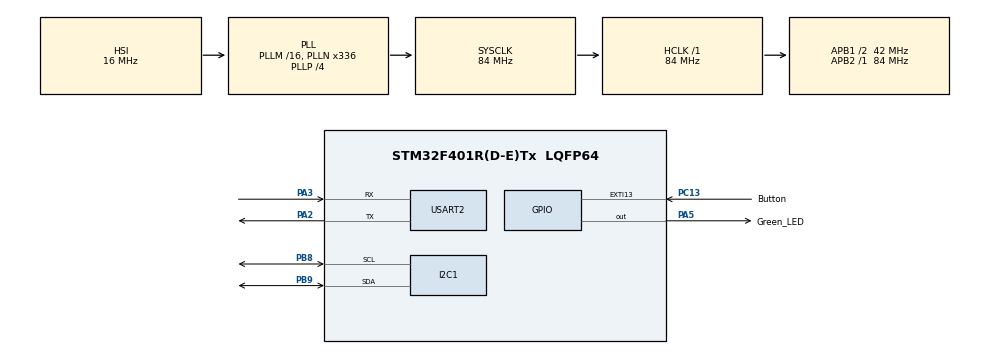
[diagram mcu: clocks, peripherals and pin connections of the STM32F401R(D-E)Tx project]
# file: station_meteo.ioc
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Mcu.Family=STM32F4
Mcu.Name=STM32F401R(D-E)Tx
Mcu.Package=LQFP64
NVIC.EXTI15_10_IRQn=true\:0\:0\:false\:false\:true\:true\:true\:true
NVIC.PriorityGroup=NVIC_PRIORITYGROUP_4
PA13.GPIO_Label=TMS
PA13.Mode=Trace_Asynchronous_SW
PA13.Signal=SYS_JTMS-SWDIO
PA14.GPIO_Label=TCK
PA14.Mode=Trace_Asynchronous_SW
PA14.Signal=SYS_JTCK-SWCLK
PA2.Mode=Asynchronous
PA2.Signal=USART2_TX
PA3.Mode=Asynchronous
PA3.Signal=USART2_RX
PA5.GPIO_Label=Green_LED
PA5.GPIO_Mode=GPIO_MODE_OUTPUT_PP
PA5.GPIO_PuPd=GPIO_NOPULL
PA5.GPIO_Speed=GPIO_SPEED_FREQ_LOW
PA5.Signal=GPIO_Output
PB3.GPIO_Label=SWO
PB3.Mode=Trace_Asynchronous_SW
PB3.Signal=SYS_JTDO-SWO
PB8.Mode=I2C
PB8.Signal=I2C1_SCL
PB9.Mode=I2C
PB9.Signal=I2C1_SDA
PC13-ANTI_TAMP.GPIO_Label=Button
PC13-ANTI_TAMP.GPIO_ModeDefaultEXTI=GPIO_MODE_IT_RISING_FALLING
PC13-ANTI_TAMP.GPIO_PuPd=GPIO_PULLDOWN
PC13-ANTI_TAMP.Signal=GPXTI13
PC14-OSC32_IN.Mode=LSE-External-Oscillator
PC14-OSC32_IN.Signal=RCC_OSC32_IN
PC15-OSC32_OUT.Mode=LSE-External-Oscillator
PC15-OSC32_OUT.Signal=RCC_OSC32_OUT
PH0\ -\ OSC_IN.Mode=HSE-External-Clock-Source
PH0\ -\ OSC_IN.Signal=RCC_OSC_IN
PH1\ -\ OSC_OUT.Mode=HSE-External-Clock-Source
PH1\ -\ OSC_OUT.Signal=RCC_OSC_OUT
ProjectManager.HeapSize=0x200
ProjectManager.StackSize=0x400
ProjectManager.TargetToolchain=Makefile
RCC.48MHZClocksFreq_Value=48000000
RCC.AHBFreq_Value=84000000
RCC.APB1CLKDivider=RCC_HCLK_DIV2
RCC.APB1Freq_Value=42000000
RCC.APB1TimFreq_Value=84000000
RCC.APB2Freq_Value=84000000
RCC.APB2TimFreq_Value=84000000
RCC.CortexFreq_Value=84000000
RCC.HCLKFreq_Value=84000000
RCC.HSE_VALUE=8000000
RCC.HSI_VALUE=16000000
RCC.PLLN=336
RCC.PLLP=RCC_PLLP_DIV4
RCC.PLLQ=7
RCC.SYSCLKFreq_VALUE=84000000
RCC.SYSCLKSource=RCC_SYSCLKSOURCE_PLLCLK
RCC.VCOOutputFreq_Value=336000000
USART2.VirtualMode=VM_ASYNC
board=NUCLEO-F401RE

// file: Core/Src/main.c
/* USER CODE BEGIN Header */
/**
  ******************************************************************************
  * @file           : main.c
  * @brief          : Main program body
  ******************************************************************************
  * @attention
  *
  * Copyright (c) 2026 STMicroelectronics.
  * All rights reserved.
  *
  * This software is licensed under terms that can be found in the LICENSE file
  * in the root directory of this software component.
  * If no LICENSE file comes with this software, it is provided AS-IS.
  *
  ******************************************************************************
  */
/* USER CODE END Header */
#include "main.h"

/* USER CODE BEGIN Includes */
#include "stm32f4xx_hal.h"
#include "stm32f4xx_hal_cortex.h"
#include "stm32f4xx_hal_def.h"
#include "stm32f4xx_hal_i2c.h"
#include "stm32f4xx_hal_uart.h"
#include "bme280.h"
#include <stdint.h>
#include <stdio.h>

/* USER CODE END Includes */

I2C_HandleTypeDef hi2c1;

UART_HandleTypeDef huart2;

void SystemClock_Config(void);
static void MX_GPIO_Init(void);
static void MX_USART2_UART_Init(void);
static void MX_I2C1_Init(void);

/* USER CODE BEGIN 0 */

int _write(int file, char *ptr, int len)
{
  (void) file;
  HAL_UART_Transmit(&huart2, (uint8_t *)ptr, len, HAL_MAX_DELAY);
  return len;
}

int8_t  bme280_i2c_read(uint8_t reg_addr, uint8_t *reg_data, uint32_t len,
                         void *intf_ptr)
{
  return (HAL_I2C_Mem_Read((I2C_HandleTypeDef *)intf_ptr, 0x76 << 1, reg_addr, 1, reg_data, len,
                           HAL_MAX_DELAY));
}

int8_t  bme280_i2c_write(uint8_t reg_addr, const uint8_t *reg_data,
                          uint32_t len, void *intf_ptr)
{
  return (HAL_I2C_Mem_Write((I2C_HandleTypeDef *)intf_ptr, 0x76 << 1, reg_addr, 1, reg_data, len,
                           HAL_MAX_DELAY));
}

void  bme280_delay(uint32_t period, void *intf_ptr)
{
  (void) intf_ptr;
  HAL_Delay(period / 1000);
}

/* USER CODE END 0 */

int main(void)
{

  /* USER CODE BEGIN 1 */
  // uint8_t  id = 0;
  // uint8_t  trim_data1[0xa1 - 0x88 + 1];
  // uint8_t  trim_data2[0xf0 - 0xe1 + 1];
  struct bme280_dev  sensor = {
    .chip_id = 0x60,
    .intf = BME280_I2C_INTF,
    .intf_ptr = &hi2c1,
    .read = bme280_i2c_read,
    .write = bme280_i2c_write,
    .delay_us = bme280_delay
  };
  struct bme280_settings settings = {
    .osr_p = BME280_OVERSAMPLING_1X,
    .osr_h = BME280_OVERSAMPLING_1X,
    .osr_t = BME280_OVERSAMPLING_1X,
    .filter = BME280_FILTER_COEFF_OFF,
    .standby_time = BME280_STANDBY_TIME_0_5_MS
  };
  struct bme280_data data = {0};
  int  temp_units, temp_decimals;
  /* USER CODE END 1 */

  /* MCU Configuration--------------------------------------------------------*/

  /* Reset of all peripherals, Initializes the Flash interface and the Systick. */
  HAL_Init();

  /* Configure the system clock */
  SystemClock_Config();

  /* Initialize all configured peripherals */
  MX_GPIO_Init();
  MX_USART2_UART_Init();
  MX_I2C1_Init();
  /* USER CODE BEGIN 2 */

  if (bme280_init(&sensor)
      || bme280_set_sensor_settings(BME280_SEL_ALL_SETTINGS, &settings, &sensor))
  {
    printf("device initalization error\r\n");
    HAL_NVIC_SystemReset();
  }
  else
  {
    printf("init good\r\n");
  }
  /*
  HAL_I2C_Mem_Read(&hi2c1, 0x76 << 1, 0xD0, 1, &id, sizeof(id), HAL_MAX_DELAY);
  if (id != 0x60)
  {
    printf("wrong id: 0x%x returned by snesor\r\n", id);
    HAL_NVIC_SystemReset();
  }
  HAL_I2C_Mem_Read(&hi2c1, 0x76 << 1, 0x88, 1, trim_data1, sizeof(trim_data1), HAL_MAX_DELAY);
  HAL_I2C_Mem_Read(&hi2c1, 0x76 << 1, 0xe1, 1, trim_data2, sizeof(trim_data2), HAL_MAX_DELAY);
  printf("trim data read:\r\n");
  int  i = 0;
  while (i < sizeof(trim_data1))
  {
    printf("0x%x ", trim_data1[i]);
    i++;
  }
  printf("\r\n");
  i = 0;
  while (i < sizeof(trim_data2))
  {
    printf("0x%x ", trim_data2[i]);
    i++;
  }
  printf("\r\n");
  */

  /* USER CODE END 2 */

  /* Infinite loop */
  while (1)
  {

    /* USER CODE BEGIN 3 */

    HAL_Delay(1000);
    if (bme280_set_sensor_mode(BME280_POWERMODE_FORCED, &sensor) || bme280_get_sensor_data(BME280_ALL, &data, &sensor))
      printf("Error occured while reading sensor data\n");
    else
    {
      temp_units = (int)(data.temperature);
      temp_decimals = (int)((data.temperature - temp_units) * 10);
      printf("Temperature: %d.%d°C | Pressure: %dPa | Humidity: %d%%\r\n",
             temp_units, temp_decimals, (int)(data.pressure), (int)(data.humidity));
    }
  }
  /* USER CODE END 3 */
}

void SystemClock_Config(void)
{
  RCC_OscInitTypeDef RCC_OscInitStruct = {0};
  RCC_ClkInitTypeDef RCC_ClkInitStruct = {0};

  /** Configure the main internal regulator output voltage
  */
  __HAL_RCC_PWR_CLK_ENABLE();
  __HAL_PWR_VOLTAGESCALING_CONFIG(PWR_REGULATOR_VOLTAGE_SCALE2);

  /** Initializes the RCC Oscillators according to the specified parameters
  * in the RCC_OscInitTypeDef structure.
  */
  RCC_OscInitStruct.OscillatorType = RCC_OSCILLATORTYPE_HSI;
  RCC_OscInitStruct.HSIState = RCC_HSI_ON;
  RCC_OscInitStruct.HSICalibrationValue = RCC_HSICALIBRATION_DEFAULT;
  RCC_OscInitStruct.PLL.PLLState = RCC_PLL_ON;
  RCC_OscInitStruct.PLL.PLLSource = RCC_PLLSOURCE_HSI;
  RCC_OscInitStruct.PLL.PLLM = 16;
  RCC_OscInitStruct.PLL.PLLN = 336;
  RCC_OscInitStruct.PLL.PLLP = RCC_PLLP_DIV4;
  RCC_OscInitStruct.PLL.PLLQ = 7;
  if (HAL_RCC_OscConfig(&RCC_OscInitStruct) != HAL_OK)
  {
    Error_Handler();
  }

  /** Initializes the CPU, AHB and APB buses clocks
  */
  RCC_ClkInitStruct.ClockType = RCC_CLOCKTYPE_HCLK|RCC_CLOCKTYPE_SYSCLK
                              |RCC_CLOCKTYPE_PCLK1|RCC_CLOCKTYPE_PCLK2;
  RCC_ClkInitStruct.SYSCLKSource = RCC_SYSCLKSOURCE_PLLCLK;
  RCC_ClkInitStruct.AHBCLKDivider = RCC_SYSCLK_DIV1;
  RCC_ClkInitStruct.APB1CLKDivider = RCC_HCLK_DIV2;
  RCC_ClkInitStruct.APB2CLKDivider = RCC_HCLK_DIV1;

  if (HAL_RCC_ClockConfig(&RCC_ClkInitStruct, FLASH_LATENCY_2) != HAL_OK)
  {
    Error_Handler();
  }
}

static void MX_I2C1_Init(void)
{

  hi2c1.Instance = I2C1;
  hi2c1.Init.ClockSpeed = 100000;
  hi2c1.Init.DutyCycle = I2C_DUTYCYCLE_2;
  hi2c1.Init.OwnAddress1 = 0;
  hi2c1.Init.AddressingMode = I2C_ADDRESSINGMODE_7BIT;
  hi2c1.Init.DualAddressMode = I2C_DUALADDRESS_DISABLE;
  hi2c1.Init.OwnAddress2 = 0;
  hi2c1.Init.GeneralCallMode = I2C_GENERALCALL_DISABLE;
  hi2c1.Init.NoStretchMode = I2C_NOSTRETCH_DISABLE;
  if (HAL_I2C_Init(&hi2c1) != HAL_OK)
  {
    Error_Handler();
  }

}

static void MX_USART2_UART_Init(void)
{

  huart2.Instance = USART2;
  huart2.Init.BaudRate = 115200;
  huart2.Init.WordLength = UART_WORDLENGTH_8B;
  huart2.Init.StopBits = UART_STOPBITS_1;
  huart2.Init.Parity = UART_PARITY_NONE;
  huart2.Init.Mode = UART_MODE_TX_RX;
  huart2.Init.HwFlowCtl = UART_HWCONTROL_NONE;
  huart2.Init.OverSampling = UART_OVERSAMPLING_16;
  if (HAL_UART_Init(&huart2) != HAL_OK)
  {
    Error_Handler();
  }

}

static void MX_GPIO_Init(void)
{
  GPIO_InitTypeDef GPIO_InitStruct = {0};

  /* GPIO Ports Clock Enable */
  __HAL_RCC_GPIOC_CLK_ENABLE();
  __HAL_RCC_GPIOH_CLK_ENABLE();
  __HAL_RCC_GPIOA_CLK_ENABLE();
  __HAL_RCC_GPIOB_CLK_ENABLE();

  /*Configure GPIO pin Output Level */
  HAL_GPIO_WritePin(Green_LED_GPIO_Port, Green_LED_Pin, GPIO_PIN_RESET);

  /*Configure GPIO pin : Button_Pin */
  GPIO_InitStruct.Pin = Button_Pin;
  GPIO_InitStruct.Mode = GPIO_MODE_IT_RISING_FALLING;
  GPIO_InitStruct.Pull = GPIO_PULLDOWN;
  HAL_GPIO_Init(Button_GPIO_Port, &GPIO_InitStruct);

  /*Configure GPIO pin : Green_LED_Pin */
  GPIO_InitStruct.Pin = Green_LED_Pin;
  GPIO_InitStruct.Mode = GPIO_MODE_OUTPUT_PP;
  GPIO_InitStruct.Pull = GPIO_NOPULL;
  GPIO_InitStruct.Speed = GPIO_SPEED_FREQ_LOW;
  HAL_GPIO_Init(Green_LED_GPIO_Port, &GPIO_InitStruct);

  /* EXTI interrupt init*/
  HAL_NVIC_SetPriority(EXTI15_10_IRQn, 0, 0);
  HAL_NVIC_EnableIRQ(EXTI15_10_IRQn);

}

/* USER CODE BEGIN 4 */
void  HAL_GPIO_EXTI_Callback(uint16_t GPIO_Pin)
{
  GPIO_PinState	status;

  if (GPIO_Pin == Button_Pin)
  {
    status = HAL_GPIO_ReadPin(Button_GPIO_Port, Button_Pin);
    HAL_GPIO_WritePin(Green_LED_GPIO_Port, Green_LED_Pin, status);
    printf("button event\r\n");
  }
  else
    __NOP();
}
/* USER CODE END 4 */

void Error_Handler(void)
{
  __disable_irq();
  while (1)
  {
  }
}
